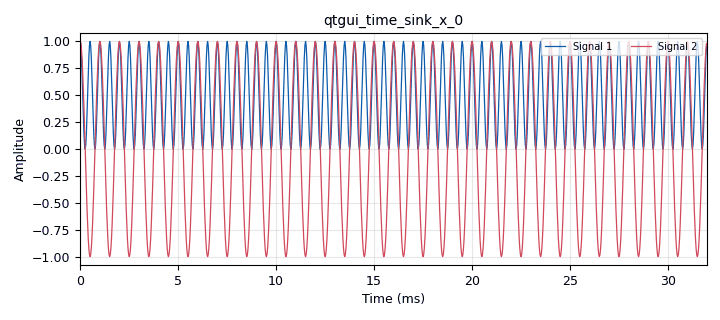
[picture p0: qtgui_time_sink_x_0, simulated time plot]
options:
  parameters:
    author: notma
    generate_options: qt_gui
    id: test_own_blks
    output_language: python
    title: Not titled yet
  states: {}

blocks:
- name: samp_rate
  id: variable
  parameters:
    value: '32000'
  states: {}
- name: analog_sig_source_x_0
  id: analog_sig_source_x
  parameters:
    amp: '1'
    freq: '1000'
    offset: '0'
    phase: '0'
    samp_rate: samp_rate
    type: float
    waveform: analog.GR_COS_WAVE
  states: {}
- name: blocks_throttle_0
  id: blocks_throttle
  parameters:
    samples_per_second: samp_rate
    type: float
  states: {}
- name: blocks_throttle_0_0
  id: blocks_throttle
  parameters:
    samples_per_second: samp_rate
    type: float
  states: {}
- name: epy_block_0
  id: epy_block
  parameters:
    _source_code: |
      """
      Embedded Python Blocks:

      Each time this file is saved, GRC will instantiate the first class it finds
      to get ports and parameters of your block. The arguments to __init__  will
      be the parameters. All of them are required to have default values!
      """

      import numpy as np
      from gnuradio import gr


      class blk(gr.sync_block):  # other base classes are basic_block, decim_block, interp_block
          """Embedded Python Block example - a simple multiply const"""

          def __init__(self):  # only default arguments here
              """arguments to this function show up as parameters in GRC"""
              gr.sync_block.__init__(
                  self,
                  name = "square3_ff",
                  in_sig = [np.float32], # Input signature: 1 float at a time
                  out_sig = [np.float32], # Output signature: 1 float at a time
              )
              # if an attribute with the same name as a parameter is found,
              # a callback is registered (properties work, too).
       

          def work(self, input_items, output_items):
              """example: multiply with constant"""
              output_items[0][:] = input_items[0] * input_items[0] # Only works because numpy.array
              return len(output_items[0])
  states: {}
- name: qtgui_time_sink_x_0
  id: qtgui_time_sink_x
  parameters:
    nconnections: '2'
    size: '1024'
    srate: samp_rate
    type: float
  states: {}

connections:
- [analog_sig_source_x_0, '0', blocks_throttle_0_0, '0']
- [analog_sig_source_x_0, '0', epy_block_0, '0']
- [blocks_throttle_0, '0', qtgui_time_sink_x_0, '0']
- [blocks_throttle_0_0, '0', qtgui_time_sink_x_0, '1']
- [epy_block_0, '0', blocks_throttle_0, '0']

metadata:
  file_format: 1
